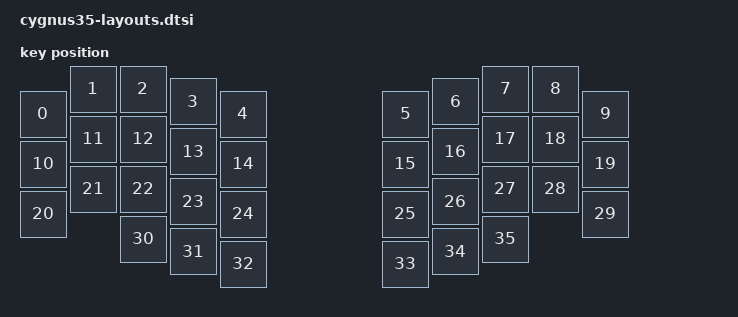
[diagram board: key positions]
#include <physical_layouts.dtsi>

/ {
    cygnus35_layout: cygnus35_layout {
        compatible = "zmk,physical-layout";
        display-name = "Cygnus35";

        kscan = <&kscan0>;
        transform = <&matrix_transform0>;

        keys  //                     w   h    x    y     rot    rx    ry
            = <&key_physical_attrs 100 100    0   50       0     0     0>
            , <&key_physical_attrs 100 100  100    0       0     0     0>
            , <&key_physical_attrs 100 100  200    0       0     0     0>
            , <&key_physical_attrs 100 100  300   25       0     0     0>
            , <&key_physical_attrs 100 100  400   50       0     0     0>
            , <&key_physical_attrs 100 100  725   50       0     0     0>
            , <&key_physical_attrs 100 100  825   25       0     0     0>
            , <&key_physical_attrs 100 100  925    0       0     0     0>
            , <&key_physical_attrs 100 100 1025    0       0     0     0>
            , <&key_physical_attrs 100 100 1125   50       0     0     0>
            , <&key_physical_attrs 100 100    0  150       0     0     0>
            , <&key_physical_attrs 100 100  100  100       0     0     0>
            , <&key_physical_attrs 100 100  200  100       0     0     0>
            , <&key_physical_attrs 100 100  300  125       0     0     0>
            , <&key_physical_attrs 100 100  400  150       0     0     0>
            , <&key_physical_attrs 100 100  725  150       0     0     0>
            , <&key_physical_attrs 100 100  825  125       0     0     0>
            , <&key_physical_attrs 100 100  925  100       0     0     0>
            , <&key_physical_attrs 100 100 1025  100       0     0     0>
            , <&key_physical_attrs 100 100 1125  150       0     0     0>
            , <&key_physical_attrs 100 100    0  250       0     0     0>
            , <&key_physical_attrs 100 100  100  200       0     0     0>
            , <&key_physical_attrs 100 100  200  200       0     0     0>
            , <&key_physical_attrs 100 100  300  225       0     0     0>
            , <&key_physical_attrs 100 100  400  250       0     0     0>
            , <&key_physical_attrs 100 100  725  250       0     0     0>
            , <&key_physical_attrs 100 100  825  225       0     0     0>
            , <&key_physical_attrs 100 100  925  200       0     0     0>
            , <&key_physical_attrs 100 100 1025  200       0     0     0>
            , <&key_physical_attrs 100 100 1125  250       0     0     0>
            , <&key_physical_attrs 100 100  200  300       0     0     0>
            , <&key_physical_attrs 100 100  300  325       0     0     0>
            , <&key_physical_attrs 100 100  400  350       0     0     0>
            , <&key_physical_attrs 100 100  725  350       0     0     0>
            , <&key_physical_attrs 100 100  825  325       0     0     0>
            , <&key_physical_attrs 100 100  925  300       0     0     0>
            ;
    };
};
